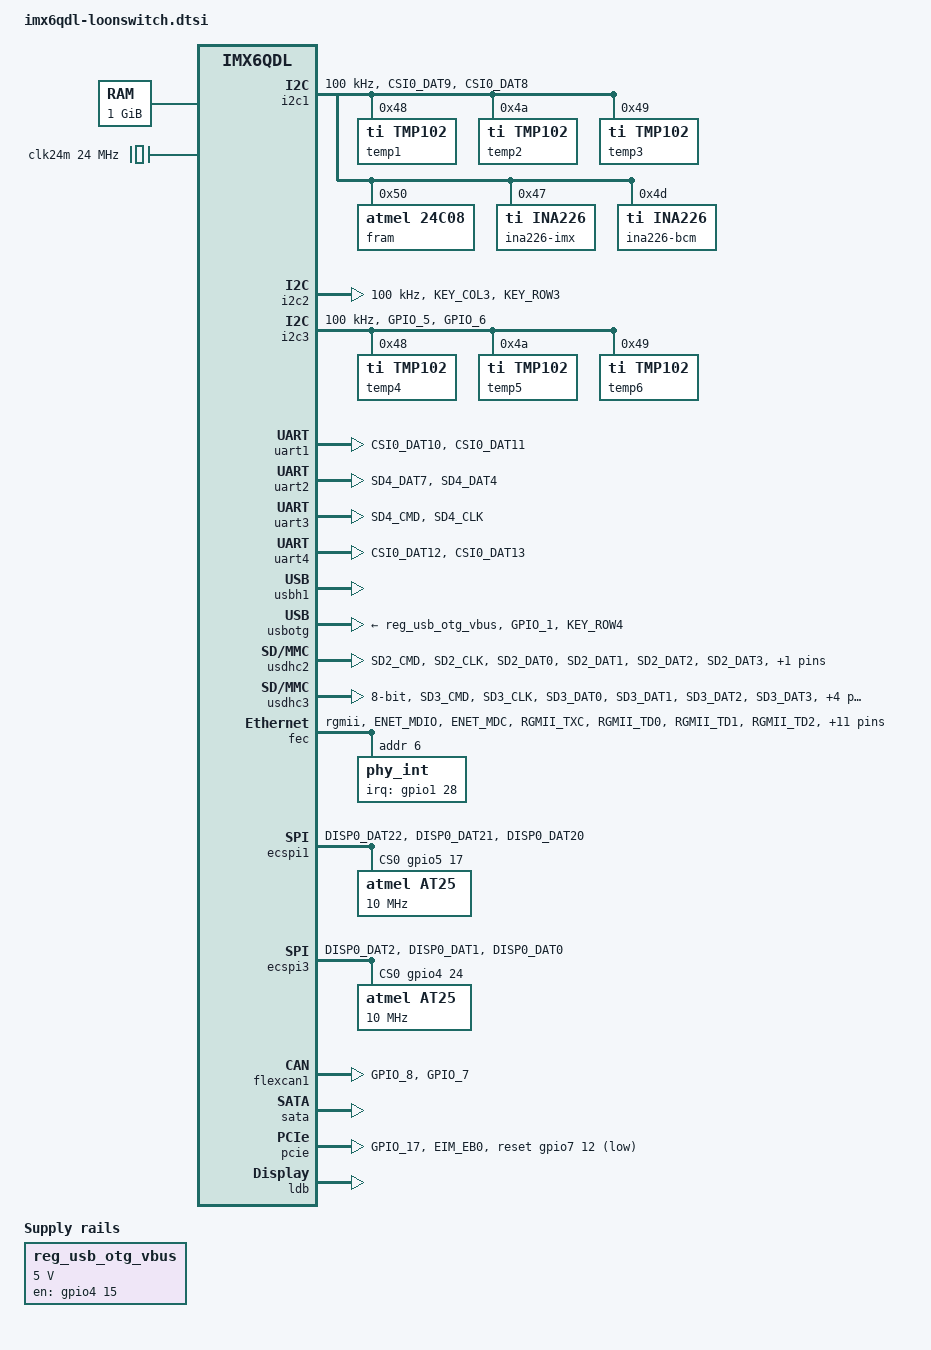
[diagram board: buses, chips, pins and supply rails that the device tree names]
/*
 * Copyright 2013 Freescale Semiconductor, Inc.
 *
 * Author: Fabio Estevam <fabio.estevam@freescale.com>
 *
 * This program is free software; you can redistribute it and/or modify
 * it under the terms of the GNU General Public License version 2 as
 * published by the Free Software Foundation.
 *
 */

/ {
	chosen {
			bootargs ="console=ttymxc0,115200n8 no_console_suspend root=/dev/mmcblk0p2 rw rootwait";
	};

	memory {
		reg = <0x10000000 0x40000000>;
	};

	aliases {
		mmc1 = &usdhc2;
		mmc2 = &usdhc3;
	};

	regulators {
		compatible = "simple-bus";

		reg_usb_otg_vbus: regulator@0 {
			compatible = "regulator-fixed";
			regulator-name = "usb_otg_vbus";
			regulator-min-microvolt = <5000000>;
			regulator-max-microvolt = <5000000>;
			gpio = <&gpio4 15 0>;
			enable-active-high;
		};
	};

	clocks {
		clk24m: clk24m {
			compatible = "fixed-clock";
			#clock-cells = <0>;
			clock-frequency = <24000000>;
		};
	};
};

&i2c1 {
	clock-frequency = <100000>;
	pinctrl-names = "default";
	pinctrl-0 = <&pinctrl_i2c1>;
	status = "okay";

	temp1: tmp102@48 {
		compatible = "ti,tmp102";
		reg = <0x48>;
	};

	temp2: tmp102@4A {
		compatible = "ti,tmp102";
		reg = <0x4A>;
	};

	temp3: tmp102@49 {
		compatible = "ti,tmp102";
		reg = <0x49>;
	};

	fram: eeprom@50 {
		compatible = "atmel,24c08";
		reg = <0x50>;
	};

	ina226-imx@47 {
		compatible = "ti,ina226";
		reg = <0x47>;
		shunt-resistor = <7000>;
	};

	ina226-bcm@4D {
		compatible = "ti,ina226";
		reg = <0x4D>;
		shunt-resistor = <12000>;
	};

};

&i2c2 {
	clock-frequency = <100000>;
	pinctrl-names = "default";
	pinctrl-0 = <&pinctrl_i2c2>;
	status = "okay";

};

&i2c3 {
	clock-frequency = <100000>;
	pinctrl-names = "default";
	pinctrl-0 = <&pinctrl_i2c3>;
	status = "okay";

	temp4: tmp102@48 {
		compatible = "ti,tmp102";
		reg = <0x48>;
	};

	temp5: tmp102@4A {
		compatible = "ti,tmp102";
		reg = <0x4A>;
	};

	temp6: tmp102@49 {
		compatible = "ti,tmp102";
		reg = <0x49>;
	};

};

&uart1 {
	pinctrl-names = "default";
	pinctrl-0 = <&pinctrl_uart1>;
	status = "okay";
};

&uart2 {
	pinctrl-names = "default";
	pinctrl-0 = <&pinctrl_uart2>;
	status = "okay";
};

&uart3 {
	pinctrl-names = "default";
	pinctrl-0 = <&pinctrl_uart3>;
	status = "okay";
};

&uart4 {
	pinctrl-names = "default";
	pinctrl-0 = <&pinctrl_uart4>;
	status = "okay";
};

&usbh1 {
	status = "okay";
};

&usbotg {
	vbus-supply = <&reg_usb_otg_vbus>;
	pinctrl-names = "default";
	pinctrl-0 = <&pinctrl_usbotg>;
	disable-over-current;
	srp-disable;
	hnp-disable;
	adp-disable;
	status = "okay";
};

&usdhc2 {
	pinctrl-names = "default";
	pinctrl-0 = <&pinctrl_usdhc2>;
	cd-gpios = <&gpio2 2 0>;
	status = "okay";
};

&usdhc3 {
	pinctrl-names = "default";
	pinctrl-0 = <&pinctrl_usdhc3>;
	bus-width = <8>;
	status = "okay";
};

&fec {
	pinctrl-names = "default";
	pinctrl-0 = <&pinctrl_enet>;
	phy-mode = "rgmii";
	status = "okay";

	local-mac-address = [00 0A 35 00 01 24];

	#address-cells = <0>;
	#size-cells = <1>;
	phy_int {
		reg = <0x6>;
		interrupts-extended = <&gpio1 28 IRQ_TYPE_LEVEL_LOW>;
	};
};

&ecspi1 {
	fsl,spi-num-chipselects = <1>;
	cs-gpios = <&gpio5 17 0>;
	pinctrl-names = "default";
	pinctrl-0 = <&pinctrl_ecspi1>;
	status = "okay";

	at25@0x00 {
		compatible = "atmel,at25", "st,m95256";
		reg = <0>;
		spi-max-frequency = <10000000>;
		spi-cpha;
		spi-cpol;

		pagesize = <64>;
		size = <131072>;
		address-width = <16>;
	};

};

&ecspi3 {
	fsl,spi-num-chipselects = <1>;
	cs-gpios = <&gpio4 24 0>;
	pinctrl-names = "default";
	pinctrl-0 = <&pinctrl_ecspi3>;
	status = "okay";

	at25@0x00 {
		compatible = "atmel,at25", "st,m95256";
		reg = <0>;
		spi-max-frequency = <10000000>;
		spi-cpha;
		spi-cpol;
		read-only;

		pagesize = <64>;
		size = <262144>;
		address-width = <16>;
	};	
};

&flexcan1 {
	pinctrl-names = "default";
	pinctrl-0 = <&pinctrl_flexcan1>;
	status = "okay";
};

&iomuxc {

	uart1 {
		pinctrl_uart1: uart1grp {
			fsl,pins = <
				MX6QDL_PAD_CSI0_DAT10__UART1_TX_DATA	0x1b0b1
				MX6QDL_PAD_CSI0_DAT11__UART1_RX_DATA	0x1b0b1
			>;
		};
	};

	uart2 {
		pinctrl_uart2: uart2grp {
			fsl,pins = <
				MX6QDL_PAD_SD4_DAT7__UART2_TX_DATA	0x1b0b1
				MX6QDL_PAD_SD4_DAT4__UART2_RX_DATA	0x1b0b1
			>;
		};
	};

	uart3 {
		pinctrl_uart3: uart3grp {
			fsl,pins = <
				MX6QDL_PAD_SD4_CMD__UART3_TX_DATA	0x1b0b1
				MX6QDL_PAD_SD4_CLK__UART3_RX_DATA	0x1b0b1
			>;
		};
	};

	uart4 {
		pinctrl_uart4: uart4grp {
			fsl,pins = <
				MX6QDL_PAD_CSI0_DAT12__UART4_TX_DATA	0x1b0b1
				MX6QDL_PAD_CSI0_DAT13__UART4_RX_DATA	0x1b0b1
			>;
		};
	};

	i2c1 {
		pinctrl_i2c1: i2c1grp {
			fsl,pins = <
				MX6QDL_PAD_CSI0_DAT9__I2C1_SCL  0x4001b8b1
				MX6QDL_PAD_CSI0_DAT8__I2C1_SDA  0x4001b8b1
			>;
		};
	};

	i2c2 {
		pinctrl_i2c2: i2c2grp {
			fsl,pins = <
				MX6QDL_PAD_KEY_COL3__I2C2_SCL  0x4001b8b1
				MX6QDL_PAD_KEY_ROW3__I2C2_SDA  0x4001b8b1
			>;
		};
	};

	i2c3 {
		pinctrl_i2c3: i2c3grp {
			fsl,pins = <
				MX6QDL_PAD_GPIO_5__I2C3_SCL  0x4001b8b1
				MX6QDL_PAD_GPIO_6__I2C3_SDA  0x4001b8b1
			>;
		};
	};

	usdhc2 {
		pinctrl_usdhc2: usdhc2grp {
			fsl,pins = <
				MX6QDL_PAD_SD2_CMD__SD2_CMD    0x17059
				MX6QDL_PAD_SD2_CLK__SD2_CLK    0x10059
				MX6QDL_PAD_SD2_DAT0__SD2_DATA0 0x17059
				MX6QDL_PAD_SD2_DAT1__SD2_DATA1 0x17059
				MX6QDL_PAD_SD2_DAT2__SD2_DATA2 0x17059
				MX6QDL_PAD_SD2_DAT3__SD2_DATA3 0x17059
			>;
		};
	};

	usdhc3 {
		pinctrl_usdhc3: usdhc3grp {
			fsl,pins = <
				MX6QDL_PAD_SD3_CMD__SD3_CMD 0x170F9
				MX6QDL_PAD_SD3_CLK__SD3_CLK 0x100F9
				MX6QDL_PAD_SD3_DAT0__SD3_DATA0 0x170F9
				MX6QDL_PAD_SD3_DAT1__SD3_DATA1 0x170F9
				MX6QDL_PAD_SD3_DAT2__SD3_DATA2 0x170F9
				MX6QDL_PAD_SD3_DAT3__SD3_DATA3 0x170F9
				MX6QDL_PAD_SD3_DAT4__SD3_DATA4 0x170F9
				MX6QDL_PAD_SD3_DAT5__SD3_DATA5 0x170F9
				MX6QDL_PAD_SD3_DAT6__SD3_DATA6 0x170F9
				MX6QDL_PAD_SD3_DAT7__SD3_DATA7 0x170F9
			>;
		};
	};

	usbotg {
		pinctrl_usbotg: usbotggrp {
			fsl,pins = <
				MX6QDL_PAD_GPIO_1__USB_OTG_ID		0x17059
				MX6QDL_PAD_KEY_ROW4__GPIO4_IO15		0x80000000
			>;
		};
	};

	ecspi1 {

		pinctrl_ecspi1_cs: ecspi1_cs_grp {
			fsl,pins = <
				MX6QDL_PAD_DISP0_DAT23__GPIO5_IO17 0x80000000
			>;
		};

		pinctrl_ecspi1: ecspi1grp {
			fsl,pins = <
				MX6QDL_PAD_DISP0_DAT22__ECSPI1_MISO 0x100b1
				MX6QDL_PAD_DISP0_DAT21__ECSPI1_MOSI 0x100b1
				MX6QDL_PAD_DISP0_DAT20__ECSPI1_SCLK 0x100b1
			>;
		};
	};

	ecspi3 {

		pinctrl_ecspi3_cs: ecspi3_cs_grp {
			fsl,pins = <
				MX6QDL_PAD_DISP0_DAT3__GPIO4_IO24 0x80000000
			>;
		};

		pinctrl_ecspi3: ecspi3grp {
			fsl,pins = <
				MX6QDL_PAD_DISP0_DAT2__ECSPI3_MISO 0x100b1
				MX6QDL_PAD_DISP0_DAT1__ECSPI3_MOSI 0x100b1
				MX6QDL_PAD_DISP0_DAT0__ECSPI3_SCLK 0x100b1
			>;
		};
	};

	enet {

		pinctrl_enet: enetgrp {
			fsl,pins = <
				MX6QDL_PAD_ENET_MDIO__ENET_MDIO       0x80000000
				MX6QDL_PAD_ENET_MDC__ENET_MDC         0x80000000
				MX6QDL_PAD_RGMII_TXC__RGMII_TXC       0x80000000
				MX6QDL_PAD_RGMII_TD0__RGMII_TD0       0x80000000
				MX6QDL_PAD_RGMII_TD1__RGMII_TD1       0x80000000
				MX6QDL_PAD_RGMII_TD2__RGMII_TD2       0x80000000
				MX6QDL_PAD_RGMII_TD3__RGMII_TD3       0x80000000
				MX6QDL_PAD_RGMII_TX_CTL__RGMII_TX_CTL 0x80000000
				MX6QDL_PAD_ENET_REF_CLK__ENET_TX_CLK  0x80000000
				MX6QDL_PAD_RGMII_RXC__RGMII_RXC       0x80000000
				MX6QDL_PAD_RGMII_RD0__RGMII_RD0       0x80000000
				MX6QDL_PAD_RGMII_RD1__RGMII_RD1       0x80000000
				MX6QDL_PAD_RGMII_RD2__RGMII_RD2       0x80000000
				MX6QDL_PAD_RGMII_RD3__RGMII_RD3       0x80000000
				MX6QDL_PAD_RGMII_RX_CTL__RGMII_RX_CTL 0x80000000
				MX6QDL_PAD_ENET_CRS_DV__GPIO1_IO25    0x80000000
				MX6QDL_PAD_ENET_TX_EN__GPIO1_IO28     0x1b0b0
			>;
		};
	};

	flexcan1 {
		pinctrl_flexcan1: flexcan1grp {
			fsl,pins = <
				MX6QDL_PAD_GPIO_8__FLEXCAN1_RX 0x80000000
				MX6QDL_PAD_GPIO_7__FLEXCAN1_TX 0x80000000
			>;
		};
	};
};


&sata {
	status = "okay";
};

&pcie {
	pinctrl-names = "default";
	pinctrl-0 = <&pinctrl_pcie>;
	reset-gpio = <&gpio7 12 1>;
	status = "okay";
	status = "okay";

	pinctrl_pcie: pciegrp {
		fsl,pins = <
			MX6QDL_PAD_GPIO_17__GPIO7_IO12		0x030b0
			MX6QDL_PAD_EIM_EB0__GPIO2_IO28		0x80000000
		>;
	};
};

&ldb {
	status = "okay";

	lvds-channel@0 {
		crtc = "ipu1-di1";
		fsl,data-mapping = "spwg";
		fsl,data-width = <18>;
		status = "okay";
		primary;

		display-timings {
			t_lvds: t_lvds_default {
				/* lg1280x800 values may be changed in bootscript */
				clock-frequency = <72000000>;
				hactive = <1280>;
				vactive = <800>;
				hback-porch = <48>;
				hfront-porch = <80>;
				vback-porch = <15>;
				vfront-porch = <2>;
				hsync-len = <32>;
				vsync-len = <6>;
			};
		};
	};

	lvds-channel@1 {
		crtc = "ipu1-di0";
		fsl,data-mapping = "spwg";
		fsl,data-width = <18>;
		status = "okay";

		display-timings {
			t_lvds2: t_lvds2_default {
				/* lg1280x800 values may be changed in bootscript */
				clock-frequency = <72000000>;
				hactive = <1280>;
				vactive = <800>;
				hback-porch = <48>;
				hfront-porch = <80>;
				vback-porch = <15>;
				vfront-porch = <2>;
				hsync-len = <32>;
				vsync-len = <6>;
			};
		};
	};
};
